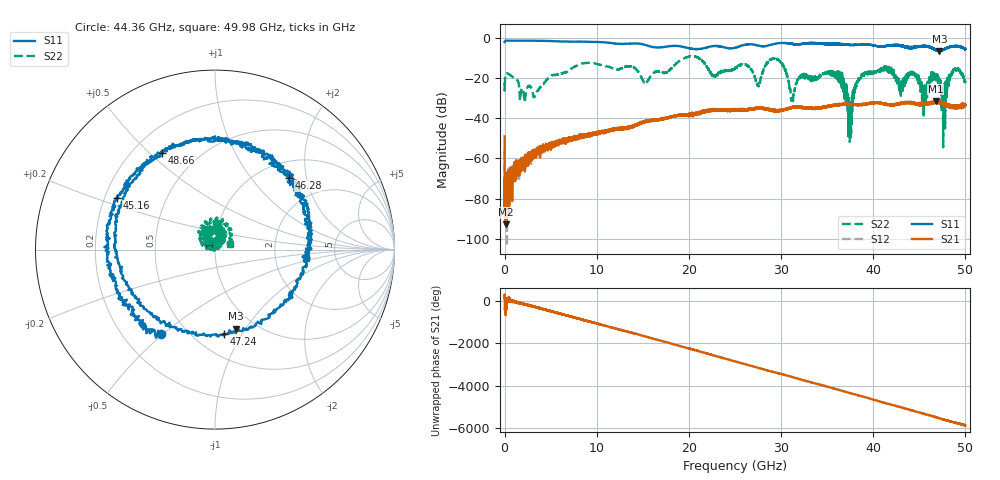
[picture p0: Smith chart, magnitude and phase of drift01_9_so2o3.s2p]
!Created with skrf (http://scikit-rf.org).
# Hz S RI R 50.0
!freq ReS11 ImS11 ReS21 ImS21 ReS12 ImS12 ReS22 ImS22
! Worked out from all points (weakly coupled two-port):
!   10001 points, 300 kHz to 50 GHz, reference 50 ohm
!   highest |S21| = -31.47 dB at 46.77 GHz (marker M1); lowest = -92.8 dB at 145.3 MHz (marker M2)
!   lowest |S11| = -6.8 dB at 47.18 GHz (marker M3), VSWR 2.68, Z = 40.7 - j45.3 ohm
!   |S11| at or under -10 dB: nowhere
!   |S22| runs from -54.5 to -9.2 dB; largest |S21 - S12| = 0.0038
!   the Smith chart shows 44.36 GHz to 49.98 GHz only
!   S11 on the Smith chart (normalised r, x): 44.36 GHz: 0.36, -0.49; 45.16 GHz: 0.25, +0.23; 46.28 GHz: 1.32, +1.57; 47.24 GHz: 0.69, -0.84; 48.66 GHz: 0.32, +0.55; 49.98 GHz: 3.02, -0.39
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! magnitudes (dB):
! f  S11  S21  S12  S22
! 300 kHz  -2.1  -49.1  -56.5  -22.6
! 145.3 MHz  -1.5  -92.8  -70.3  -17.9
! 3.285 GHz  -1.5  -57.4  -56.7  -28.9
! 8.335 GHz  -2.0  -49.3  -48.5  -12.9
! 16.67 GHz  -4.9  -40.9  -40.6  -16.7
! 25 GHz  -5.0  -35.8  -36.0  -15.4
! 29.6 GHz  -2.8  -36.2  -36.5  -10.7
! 31.23 GHz  -3.1  -34.6  -34.6  -31.0
! 33.34 GHz  -2.6  -35.3  -35.0  -19.9
! 36.21 GHz  -3.2  -33.4  -33.4  -20.7
! 37.48 GHz  -3.6  -33.0  -33.2  -43.4
! 38.68 GHz  -3.3  -33.2  -33.0  -19.8
! 41.67 GHz  -3.9  -33.3  -33.2  -15.6
! 44.36 GHz  -5.1  -32.5  -32.4  -17.0
! 45.16 GHz  -4.2  -33.1  -33.0  -24.9
! 46.28 GHz  -4.8  -31.9  -32.5  -19.4
! 46.77 GHz  -6.1  -31.5  -32.1  -18.2
! 47.18 GHz  -6.8  -32.1  -32.3  -21.7
! 47.24 GHz  -6.5  -31.9  -32.0  -26.7
! 48.66 GHz  -4.2  -33.9  -34.3  -17.1
! 49.98 GHz  -5.9  -33.6  -33.7  -21.1
! 50 GHz  -5.5  -33.5  -33.5  -21.7
